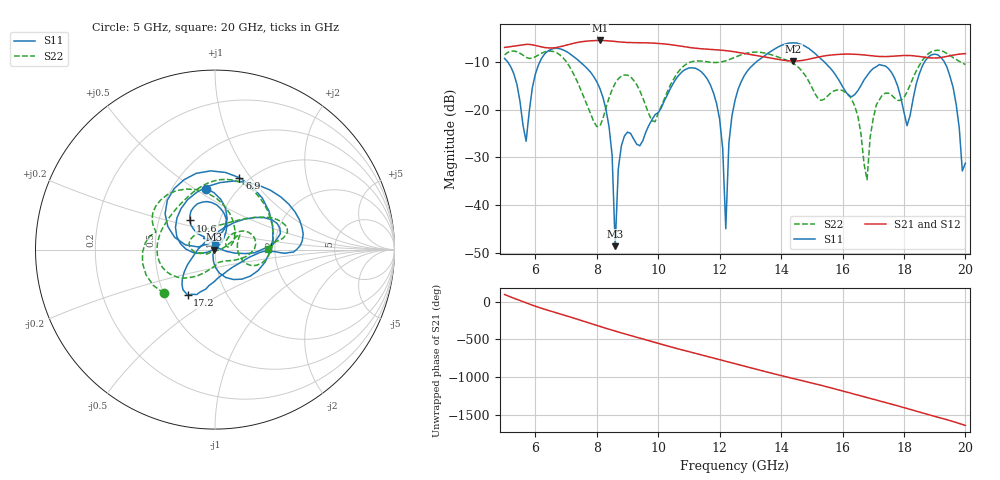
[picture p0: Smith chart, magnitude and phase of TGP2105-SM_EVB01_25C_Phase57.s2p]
! Date: Wednesday, June 05, 2013  1:52 PM
! Filename: C:\Data\Mike_Arnold\TGP2105-SM\Over_Temp\TGP2105-SM_EVB01_25C_Phase57.s2p
! Comments:
!^VDC(V):5.000
!^VDC(mA):0.068
!%Freq(GHz),S11(dB),S11(ang),S21(dB),S21(ang),S12(dB),S12(ang),S22(dB),S22(ang)
# GHz  S  DB  R  50
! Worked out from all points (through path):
!   151 points, 5 GHz to 20 GHz, reference 50 ohm
!   highest |S21| = -5.51 dB at 8.1 GHz (marker M1); lowest = -9.8 dB at 14.4 GHz (marker M2)
!   lowest |S11| = -48.7 dB at 8.6 GHz (marker M3), VSWR 1.01, Z = 49.6 - j0.0484 ohm
!   |S11| at or under -10 dB: 5.1 GHz to 6.149 GHz (1.048 GHz wide, 18.6 % of centre); 7.455 GHz to 13.19 GHz (5.739 GHz wide, 55.6 % of centre); 15.41 GHz to 18.67 GHz (3.267 GHz wide, 19.2 % of centre)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
!   |S22| runs from -34.7 to -7.6 dB; largest |S21 - S12| = 0.0022
!   S11 on the Smith chart (normalised r, x): 5 GHz: 0.73, +0.56; 6.9 GHz: 0.91, +0.88; 10.6 GHz: 0.72, +0.25; 17.2 GHz: 0.66, -0.37; 20 GHz: 0.99, +0.05
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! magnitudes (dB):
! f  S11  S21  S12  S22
! 5 GHz  -9.3  -7.0  -7.0  -8.5
! 5.7 GHz  -26.6  -6.3  -6.4  -9.1
! 6.9 GHz  -7.5  -6.7  -6.7  -9.1
! 7.5 GHz  -10.3  -5.8  -5.8  -16.2
! 8.1 GHz  -15.6  -5.5  -5.5  -23.5
! 8.5 GHz  -29.6  -5.7  -5.7  -15.9
! 8.6 GHz  -48.7  -5.7  -5.7  -14.5
! 8.9 GHz  -25.6  -5.9  -5.9  -12.7
! 10 GHz  -20.6  -6.1  -6.2  -20.8
! 10.6 GHz  -13.4  -6.6  -6.6  -12.5
! 11.8 GHz  -16.5  -7.4  -7.4  -10.1
! 12.2 GHz  -45.0  -7.6  -7.7  -9.8
! 12.5 GHz  -18.1  -7.9  -7.9  -9.0
! 14.4 GHz  -6.0  -9.8  -9.8  -10.4
! 15 GHz  -7.7  -9.3  -9.3  -15.3
! 16.3 GHz  -17.3  -8.4  -8.4  -17.9
! 16.8 GHz  -12.9  -8.6  -8.6  -34.7
! 17.2 GHz  -10.6  -8.9  -8.9  -17.9
! 17.5 GHz  -11.4  -8.9  -8.9  -16.6
! 18.1 GHz  -23.4  -8.7  -8.7  -16.3
! 19.3 GHz  -9.8  -9.0  -9.0  -7.9
! 20 GHz  -31.2  -8.3  -8.3  -10.6
